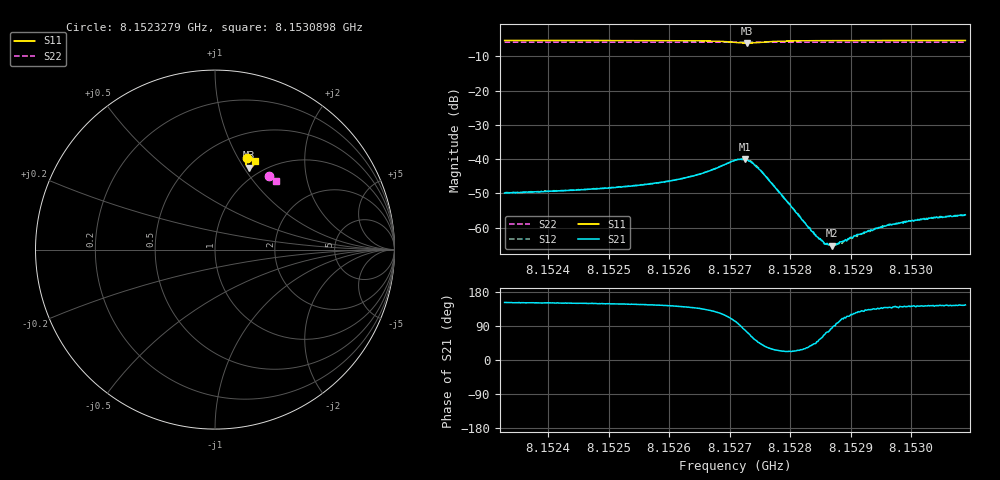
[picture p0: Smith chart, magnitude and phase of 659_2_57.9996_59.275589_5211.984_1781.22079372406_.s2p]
#  HZ  S  RI  R  50.00
! Rohde & Schwarz Vector Network Analyzer
! Rohde-Schwarz,ZNB20-2Port,1311601062101988,3.16
! Created: UTC 3/21/2024, 1:19:52 AM
! freq[Hz]  re:S11  im:S11  re:S21  im:S21  re:S12  im:S12  re:S22  im:S22
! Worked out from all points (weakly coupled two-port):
!   401 points, 8.1523279 GHz to 8.1530898 GHz, reference 50 ohm
!   highest |S21| = -39.96 dB at 8.152726 GHz (marker M1); lowest = -65.2 dB at 8.1528688 GHz (marker M2)
!   lowest |S11| = -6.1 dB at 8.1527279 GHz (marker M3), VSWR 2.95, Z = 43.5 + j52.6 ohm
!   |S11| at or under -10 dB: nowhere
!   |S22| runs from -5.9 to -5.8 dB; largest |S21 - S12| = 0.00033
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8.15232787e9  0.1794 0.51  -0.00283 0.00151  -0.00281 0.00159  0.3032 0.412
8.15245549e9  0.1896 0.5062  -0.0031 0.00182  -0.0031 0.00188  0.3097 0.407
8.15253168e9  0.1962 0.5031  -0.00337 0.00218  -0.00338 0.00223  0.3136 0.404
8.15258311e9  0.2018 0.5001  -0.0037 0.00263  -0.00369 0.00268  0.3161 0.4019
8.15262311e9  0.2068 0.496  -0.00405 0.00332  -0.00403 0.00342  0.318 0.4
8.15265358e9  0.2115 0.4907  -0.00436 0.00436  -0.00434 0.00444  0.3197 0.3986
8.15270882e9  0.2086 0.4624  -0.00206 0.0095  -0.00199 0.00942  0.3217 0.3954
8.15272596e9  0.1898 0.4564  0.00208 0.00983  0.00212 0.00975  0.3218 0.3948
8.15272787e9  0.1873 0.457  0.00254 0.00942  0.00264 0.00967  0.3218 0.3948
8.15273739e9  0.177 0.4639  0.00435 0.00763  0.00446 0.00781  0.3219 0.3949
8.15275072e9  0.1719 0.4774  0.00506 0.00475  0.00512 0.00472  0.3226 0.3949
8.15283644e9  0.1946 0.5001  0.000672 0.000564  0.000714 0.000553  0.3277 0.392
8.15284406e9  0.1959 0.5002  0.000493 0.000555  0.00051 0.000553  0.328 0.3917
8.15285739e9  0.1981 0.5001  0.000221 0.000535  0.000226 0.00053  0.3288 0.3911
8.15286882e9  0.1999 0.5  6.54e-05 0.000544  3.76e-05 0.000536  0.3294 0.3907
8.15287644e9  0.2009 0.4999  -6.78e-05 0.000579  -5.79e-05 0.000558  0.3297 0.3902
8.15288596e9  0.2022 0.4998  -0.00021 0.000593  -0.000187 0.000559  0.3303 0.3899
8.15290882e9  0.2047 0.4992  -0.000443 0.000626  -0.000429 0.000625  0.3314 0.389
8.15294501e9  0.2087 0.4982  -0.000711 0.00067  -0.000682 0.000703  0.3331 0.3873
8.15296406e9  0.2104 0.4977  -0.000828 0.000711  -0.000849 0.000749  0.3341 0.3865
8.15301739e9  0.2151 0.4963  -0.00107 0.000804  -0.00102 0.000806  0.3366 0.3842
8.15308977e9  0.2208 0.4942  -0.00127 0.000877  -0.00123 0.000939  0.3401 0.381
